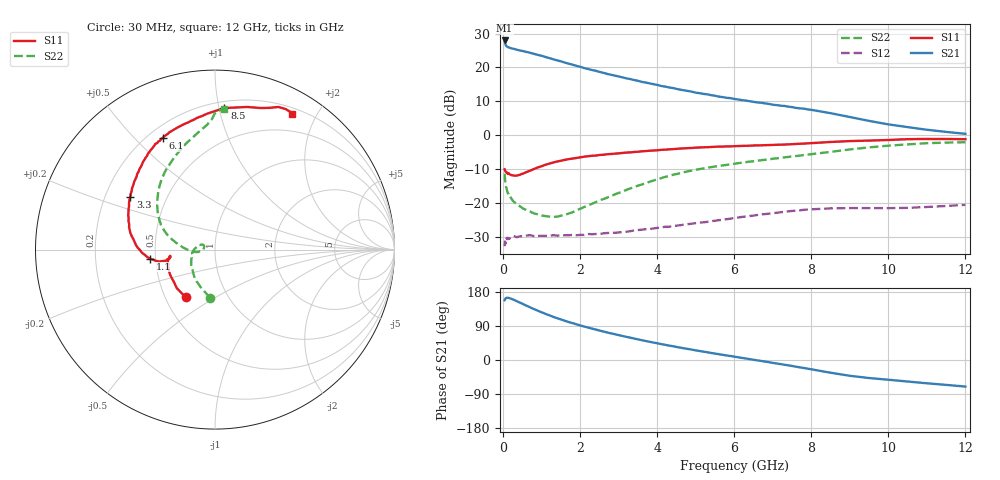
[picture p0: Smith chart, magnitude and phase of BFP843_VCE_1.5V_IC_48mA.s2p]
! Infineon Technologies  Discrete & RF Semiconductors
! BFP843
! VCE =  1.5 V,  IC =  48 mA
! Common Emitter S-Parameters:  Aug 2013
# GHz  S  MA  R  50
!  f  S11  S21  S12  S22
! GHz  MAG  ANG  MAG  ANG  MAG  ANG  MAG  ANG
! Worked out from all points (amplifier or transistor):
!   103 points, 30 MHz to 12 GHz, reference 50 ohm
!   highest |S21| = 28.0 dB at 30 MHz (marker M1)
!   |S21| within 3 dB of that: start of sweep to 445.1 MHz
!   unconditionally stable (mu >= 1): 42.34 MHz to 10.6 GHz
!   at 400 MHz: K = 1.12, MAG = 25.4 dB, |S12| = -30.0 dB
!   at 3.7 GHz: K = 1.49, MAG = 17.5 dB, |S12| = -27.8 dB
!   at 12 GHz: K = 0.91, MSG = 10.5 dB, |S12| = -20.6 dB
!   S11 on the Smith chart (normalised r, x): 30 MHz: 0.63, -0.37; 1.1 GHz: 0.47, -0.05; 3.3 GHz: 0.31, +0.26; 6.1 GHz: 0.26, +0.61; 8.5 GHz: 0.25, +1.04; 12 GHz: 0.27, +1.69
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0.03  0.3122 -121.5  25.02 157.9  0.0228 29.7  0.2685 -96.2
0.04  0.3025 -134.7  23.07 159.5  0.0268 20.3  0.2242 -110.7
0.05  0.2912 -141.9  22.06 162.1  0.0248 13.1  0.1989 -124.1
0.07  0.284 -153.9  20.83 163.7  0.0281 14.3  0.1684 -138.5
0.1  0.2707 -163.1  20.18 164.4  0.029 10.3  0.1451 -155.6
0.13  0.2679 -167.0  19.9 164.2  0.0298 13.3  0.1347 -166.7
0.5  0.2685 -168.0  17.48 148.0  0.0319 6.6  0.0827 160.8
0.7  0.2988 -167.7  16.39 138.6  0.0331 6.8  0.0738 158.2
0.9  0.3334 -169.1  15.27 129.7  0.0324 7.1  0.0673 158.3
1.1  0.3655 -172.2  14.21 121.5  0.0324 7.1  0.0633 163.2
1.3  0.3942 -176.0  13.15 113.7  0.0331 7.4  0.0617 169.5
1.6  0.4312 178.5  11.76 103.3  0.033 10.1  0.0664 179.1
2.1  0.4798 169.0  9.765 88.1  0.0334 12.2  0.0865 -173.8
2.7  0.5208 158.2  7.992 72.5  0.0357 16.1  0.1195 -174.7
3.3  0.5549 148.2  6.718 58.8  0.038 18.8  0.163 178.3
4.1  0.6049 135.7  5.316 41.9  0.0431 21.2  0.231 168.3
5  0.6522 124.9  4.232 25.3  0.0499 21.6  0.3071 158.7
6.1  0.6881 115.1  3.352 7.1  0.0604 19.0  0.3842 146.3
7.3  0.7242 101.9  2.695 -12.5  0.0735 11.4  0.4679 131.5
8.5  0.7905 86.2  2.105 -33.6  0.0825 0.0  0.5647 113.4
10.5  0.8698 66.0  1.311 -56.8  0.084 -12.6  0.728 91.3
12  0.8689 60.3  1.044 -70.1  0.0931 -20.0  0.7844 86.2
